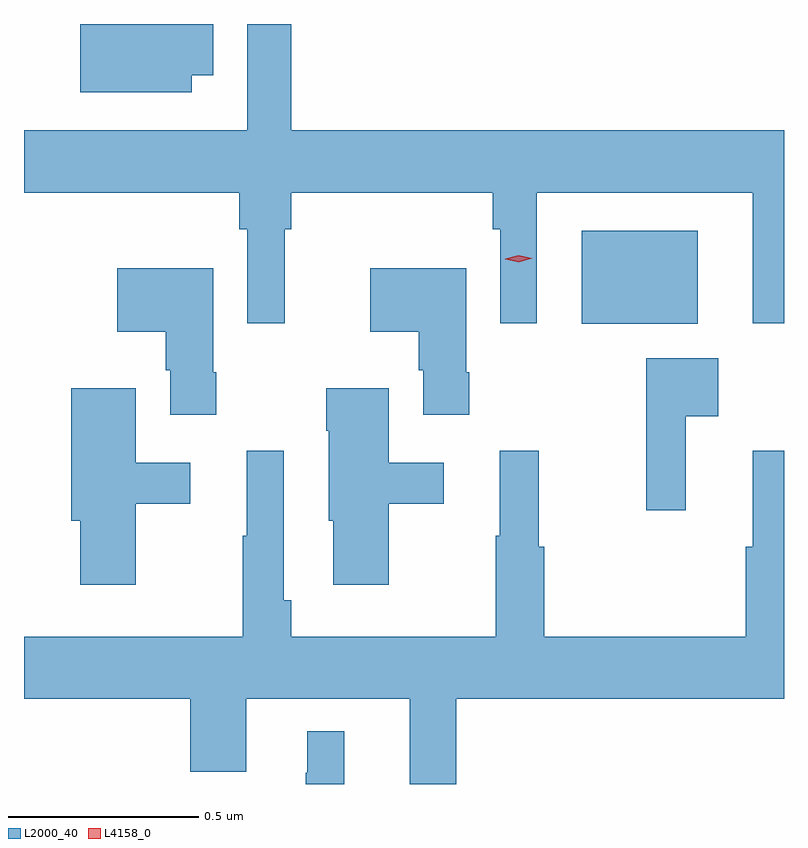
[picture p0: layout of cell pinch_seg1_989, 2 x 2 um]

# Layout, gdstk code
import gdstk
lib = gdstk.Library(unit=1e-6, precision=1e-09)
def R(c, l, rs):  # rectangles x0, y0, x1, y1
    for r in rs: c.add(gdstk.rectangle(r[:2], r[2:], *l))
def P(c, l, *ps):  # polygons
    for p in ps: c.add(gdstk.Polygon(p, *l))
L2000_40 = (2000, 40)
L4158_0 = (4158, 0)

pinch_seg1_989 = lib.new_cell('pinch_seg1_989')
R(pinch_seg1_989, L2000_40, [(113.618,504.767,113.923,505.012)])
P(pinch_seg1_989, L2000_40, [(112.591,505.421),(112.648,505.421),(112.648,505.556),(112.298,505.556),(112.298,505.376),(112.591,505.376)],
  [(112.836,505.016),(112.853,505.016),(112.853,505.112),(113.383,505.112),(113.383,505.016),(113.403,505.016),(113.403,504.768),(113.499,504.768),(113.499,505.112),(114.068,505.112),(114.068,504.768),(114.15,504.768),(114.15,505.276),(112.853,505.276),(112.853,505.556),(112.737,505.556),(112.737,505.276),(112.15,505.276),(112.15,505.112),(112.717,505.112),(112.717,505.016),(112.737,505.016),(112.737,504.768),(112.836,504.768)],
  [(112.656,504.64),(112.648,504.64),(112.648,504.913),(112.395,504.913),(112.395,504.746),(112.523,504.746),(112.523,504.645),(112.535,504.645),(112.535,504.528),(112.656,504.528)],
  [(113.322,504.64),(113.314,504.64),(113.314,504.913),(113.061,504.913),(113.061,504.746),(113.189,504.746),(113.189,504.645),(113.201,504.645),(113.201,504.528),(113.322,504.528)],
  [(113.891,504.524),(113.977,504.524),(113.977,504.676),(113.788,504.676),(113.788,504.276),(113.891,504.276)],
  [(112.444,504.294),(112.588,504.294),(112.588,504.402),(112.444,504.402),(112.444,504.598),(112.274,504.598),(112.274,504.249),(112.298,504.249),(112.298,504.081),(112.444,504.081)],
  [(113.11,504.294),(113.254,504.294),(113.254,504.402),(113.11,504.402),(113.11,504.598),(112.945,504.598),(112.945,504.485),(112.952,504.485),(112.952,504.249),(112.964,504.249),(112.964,504.081),(113.11,504.081)],
  [(113.288,503.78),(114.15,503.78),(114.15,504.433),(114.068,504.433),(114.068,504.18),(114.049,504.18),(114.049,503.944),(113.519,503.944),(113.519,504.18),(113.504,504.18),(113.504,504.433),(113.402,504.433),(113.402,504.209),(113.391,504.209),(113.391,503.944),(112.853,503.944),(112.853,504.04),(112.833,504.04),(112.833,504.433),(112.736,504.433),(112.736,504.209),(112.725,504.209),(112.725,503.944),(112.15,503.944),(112.15,503.78),(112.588,503.78),(112.588,503.588),(112.735,503.588),(112.735,503.78),(113.165,503.78),(113.165,503.556),(113.288,503.556)],
  [(112.993,503.695),(112.895,503.695),(112.895,503.585),(112.891,503.585),(112.891,503.556),(112.993,503.556)])
P(pinch_seg1_989, L4158_0, [(113.452,504.929),(113.416,504.937),(113.416,504.937),(113.416,504.938),(113.452,504.948),(113.487,504.94),(113.488,504.94),(113.487,504.939)])

lib.write_gds('pinch_seg1_989.gds')
